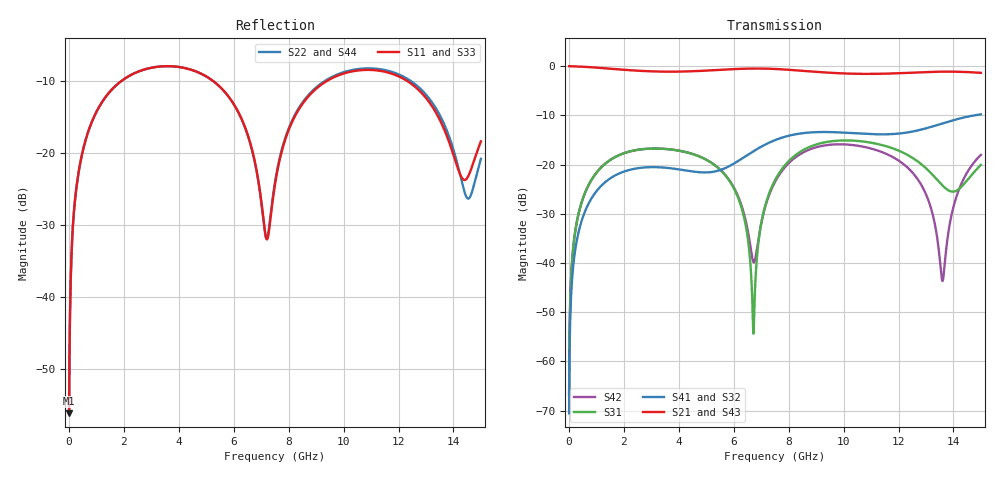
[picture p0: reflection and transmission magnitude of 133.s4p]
! Created with skrf 1.8.0 (http://scikit-rf.org).
# GHz S RI R 50.0
!freq ReS11 ImS11 ReS12 ImS12 ReS13 ImS13
! ReS14 ImS14
! ReS21 ImS21 ReS22 ImS22 ReS23 ImS23
! ReS24 ImS24
! ReS31 ImS31 ReS32 ImS32 ReS33 ImS33
! ReS34 ImS34
! ReS41 ImS41 ReS42 ImS42 ReS43 ImS43
! ReS44 ImS44
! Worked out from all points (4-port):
!   2499 points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, 5 MHz to 15 GHz, reference 50 ohm
!   strongest paths, dB at 5 MHz, 3.476 GHz, 7.19 GHz, 11.1 GHz, 15 GHz:
!     S21: 0.0, -1.1, -0.5, -1.6, -1.4
!     S43: 0.0, -1.1, -0.5, -1.6, -1.4
!     S41: -70.5, -20.6, -15.8, -13.8, -9.8
!     S32: -70.5, -20.6, -15.8, -13.8, -9.8
!     S31: -66.7, -16.8, -27.5, -15.7, -20.1
!     S42: -66.7, -16.8, -27.8, -16.9, -18.0
!   lowest |S11| = -56.1 dB at 5 MHz (marker M1), VSWR 1.00, Z = 50.1 + j0.0958 ohm
!   |S11| at or under -10 dB: start of sweep to 1.926 GHz; 5.231 GHz to 9.412 GHz (4.181 GHz wide, 57.1 % of centre); 12.3 GHz to end of sweep
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0.005  0.00125 0.000955  0.9987 -0.00243  6.04e-05 0.000457  -5.89e-05 -0.000292
       0.9987 -0.00243  0.00125 0.000955  -5.89e-05 -0.000292  6.04e-05 0.000457
       6.04e-05 0.000457  -5.89e-05 -0.000292  0.00125 0.000955  0.9987 -0.00243
       -5.89e-05 -0.000292  6.04e-05 0.000457  0.9987 -0.00243  0.00125 0.000955
0.4126719  0.0231 0.0824  0.9682 -0.199  0.0102 0.0358  -0.00853 -0.0226
           0.9682 -0.199  0.0231 0.0824  -0.00853 -0.0226  0.0102 0.0358
           0.0102 0.0358  -0.00853 -0.0226  0.0231 0.0824  0.9682 -0.199
           -0.00853 -0.0226  0.0102 0.0358  0.9682 -0.199  0.0231 0.0824
2.025844  0.2694 0.1837  0.5541 -0.73  0.1184 0.0566  -0.0851 -0.00707
          0.5541 -0.73  0.2696 0.1834  -0.0851 -0.00708  0.1183 0.0567
          0.1184 0.0566  -0.0851 -0.00708  0.2694 0.1837  0.5541 -0.7299
          -0.0851 -0.00707  0.1183 0.0567  0.5541 -0.7299  0.2696 0.1835
6.715298  0.0434 -0.0862  -0.9062 -0.2682  -0.00191 -0.000219  -0.0345 0.1321
          -0.9062 -0.2682  0.043 -0.0852  -0.0347 0.1321  -0.01 -0.00219
          -0.00191 -0.000219  -0.0347 0.1321  0.0437 -0.087  -0.906 -0.2685
          -0.0345 0.1321  -0.01 -0.00219  -0.906 -0.2685  0.0433 -0.086
7.203001  0.0251 -0.00178  -0.9406 -0.055  0.0102 0.0422  -0.00479 0.1625
          -0.9406 -0.055  0.0254 3.98e-05  -0.00495 0.1625  -0.00075 0.042
          0.0102 0.0422  -0.00495 0.1625  0.0252 -0.00273  -0.9406 -0.0554
          -0.00479 0.1625  -0.00075 0.042  -0.9406 -0.0554  0.0255 -0.000902
13.60567  0.1072 -0.1107  0.7613 0.4383  -0.0526 -0.0313  0.1242 -0.2307
          0.7613 0.4383  0.1004 -0.1332  0.1251 -0.2303  -0.00658 1.82e-05
          -0.0526 -0.0313  0.1251 -0.2303  0.1058 -0.1132  0.7612 0.4381
          0.1242 -0.2307  -0.00658 1.82e-05  0.7612 0.4381  0.1029 -0.1337
15  0.091 0.0784  0.8489 -0.0988  0.0254 0.0959  -0.0566 -0.3185
    0.8489 -0.0988  0.0667 0.0618  -0.0556 -0.3192  0.079 0.0976
    0.0254 0.0959  -0.0556 -0.3192  0.0869 0.0754  0.8494 -0.0985
    -0.0566 -0.3185  0.079 0.0976  0.8494 -0.0985  0.0693 0.0574
